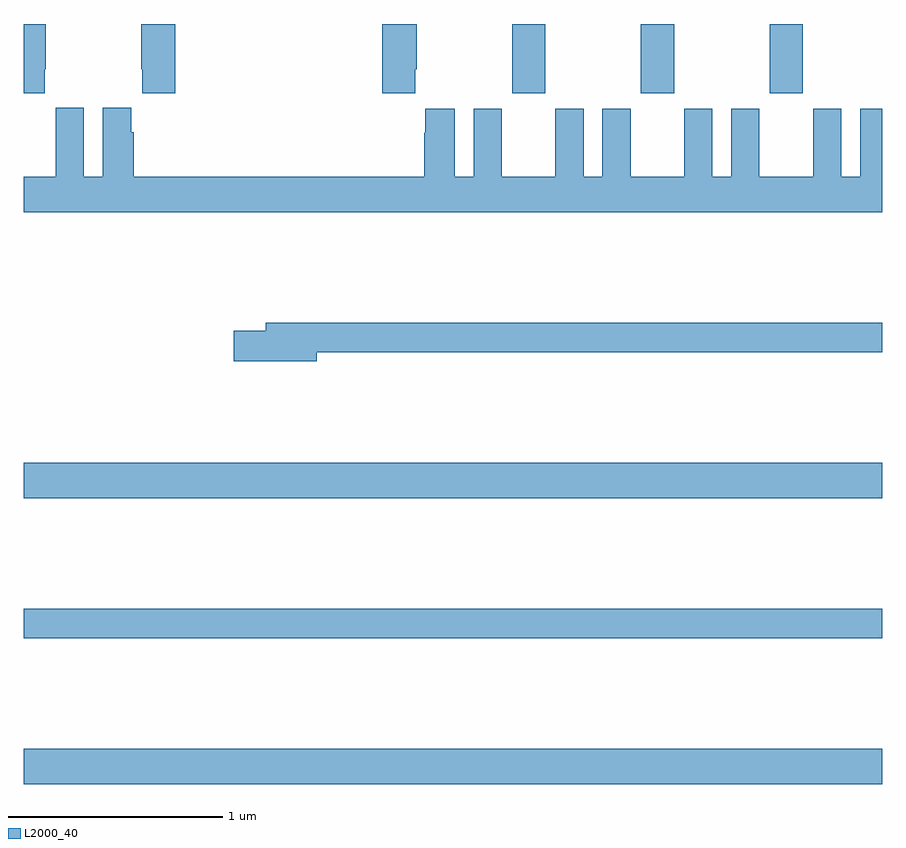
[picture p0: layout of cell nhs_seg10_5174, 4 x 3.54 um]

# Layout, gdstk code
import gdstk
lib = gdstk.Library(unit=1e-6, precision=1e-09)
def R(c, l, rs):  # rectangles x0, y0, x1, y1
    for r in rs: c.add(gdstk.rectangle(r[:2], r[2:], *l))
def A(c, l, x, y, w, h, nx, ny, dx, dy):  # array of equal rectangles
    R(c, l, [(x+i*dx, y+j*dy, x+i*dx+w, y+j*dy+h) for i in range(nx) for j in range(ny)])
def P(c, l, *ps):  # polygons
    for p in ps: c.add(gdstk.Polygon(p, *l))
L2000_40 = (2000, 40)

nhs_seg10_5174 = lib.new_cell('nhs_seg10_5174')
A(nhs_seg10_5174, L2000_40, 413.275, 1326.177, 0.155, 0.323, 3, 1, 0.6, 0)
R(nhs_seg10_5174, L2000_40, [(411,1322.96,415,1323.124), (411,1323.64,415,1323.776), (411,1324.292,415,1324.456)])
P(nhs_seg10_5174, L2000_40, [(412.825,1326.289),(412.83,1326.289),(412.83,1326.5),(412.67,1326.5),(412.67,1326.177),(412.825,1326.177)],
  [(411.707,1326.5),(411.547,1326.5),(411.547,1326.289),(411.553,1326.289),(411.553,1326.177),(411.707,1326.177)],
  [(411.099,1326.289),(411.102,1326.289),(411.102,1326.5),(411,1326.5),(411,1326.177),(411.099,1326.177)],
  [(415,1326.106),(414.896,1326.106),(414.896,1325.788),(414.808,1325.788),(414.808,1326.106),(414.677,1326.106),(414.677,1325.788),(414.427,1325.788),(414.427,1326.106),(414.296,1326.106),(414.296,1325.788),(414.208,1325.788),(414.208,1326.106),(414.077,1326.106),(414.077,1325.788),(413.827,1325.788),(413.827,1326.106),(413.696,1326.106),(413.696,1325.788),(413.608,1325.788),(413.608,1326.106),(413.477,1326.106),(413.477,1325.788),(413.227,1325.788),(413.227,1326.106),(413.096,1326.106),(413.096,1325.788),(413.008,1325.788),(413.008,1326.106),(412.871,1326.106),(412.871,1325.993),(412.865,1325.993),(412.865,1325.788),(411.512,1325.788),(411.512,1325.996),(411.502,1325.996),(411.502,1326.109),(411.368,1326.109),(411.368,1325.788),(411.28,1325.788),(411.28,1326.109),(411.15,1326.109),(411.15,1325.996),(411.149,1325.996),(411.149,1325.788),(411,1325.788),(411,1325.624),(415,1325.624)],
  [(412.366,1324.972),(415,1324.972),(415,1325.108),(412.127,1325.108),(412.127,1325.072),(411.978,1325.072),(411.978,1324.93),(412.366,1324.93)])

lib.write_gds('nhs_seg10_5174.gds')
